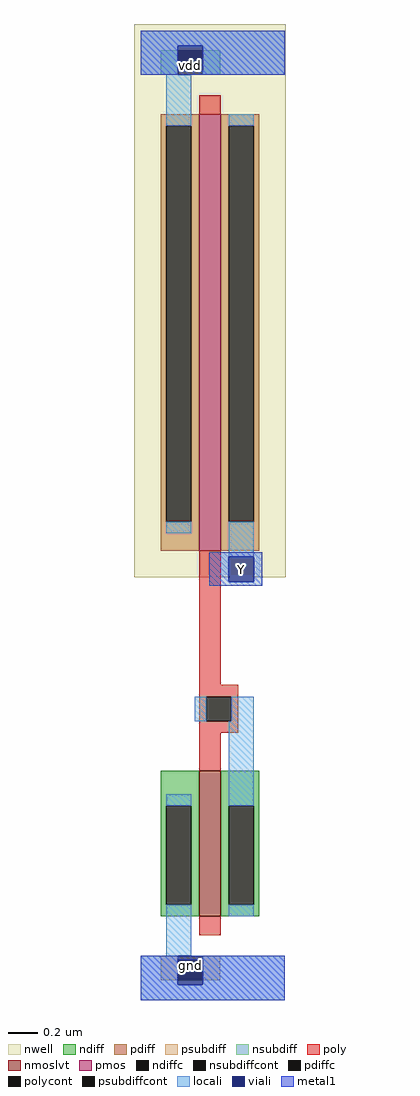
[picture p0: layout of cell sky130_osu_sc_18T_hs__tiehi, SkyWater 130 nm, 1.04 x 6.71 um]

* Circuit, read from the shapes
.subckt sky130_osu_sc_18T_hs__tiehi Y
XM1 n1 n1 gnd gnd sky130_fd_pr__nfet_01v8_lvt w=1 l=0.15
XM2 Y n1 vdd vdd sky130_fd_pr__pfet_01v8 w=3 l=0.15
.ends

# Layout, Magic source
magic
tech sky130A
magscale 1 2
<< nwell >>
rect -9 581 199 1341
<< pmos >>
rect 80 617 110 1217
<< nmoslvt >>
rect 80 115 110 315
<< ndiff >>
rect 27 267 80 315
rect 27 131 35 267
rect 69 131 80 267
rect 27 115 80 131
rect 110 267 163 315
rect 110 131 121 267
rect 155 131 163 267
rect 110 115 163 131
<< pdiff >>
rect 27 1201 80 1217
rect 27 657 35 1201
rect 69 657 80 1201
rect 27 617 80 657
rect 110 1201 163 1217
rect 110 657 121 1201
rect 155 657 163 1201
rect 110 617 163 657
<< ndiffc >>
rect 35 131 69 267
rect 121 131 155 267
<< pdiffc >>
rect 35 657 69 1201
rect 121 657 155 1201
<< psubdiff >>
rect 27 27 51 61
rect 85 27 109 61
<< nsubdiff >>
rect 27 1271 51 1305
rect 85 1271 109 1305
<< psubdiffcont >>
rect 51 27 85 61
<< nsubdiffcont >>
rect 51 1271 85 1305
<< poly >>
rect 80 1217 110 1243
rect 80 433 110 617
rect 80 417 134 433
rect 80 383 90 417
rect 124 383 134 417
rect 80 367 134 383
rect 80 315 110 367
rect 80 89 110 115
<< polycont >>
rect 90 383 124 417
<< locali >>
rect 0 1311 198 1332
rect 0 1271 51 1311
rect 85 1271 198 1311
rect 35 1201 69 1271
rect 35 641 69 657
rect 121 1201 155 1217
rect 121 609 155 657
rect 74 383 90 417
rect 124 383 155 417
rect 35 267 69 283
rect 35 61 69 131
rect 121 267 155 383
rect 121 115 155 131
rect 0 21 51 61
rect 85 21 198 61
rect 0 0 198 21
<< viali >>
rect 51 1305 85 1311
rect 51 1277 85 1305
rect 121 575 155 609
rect 51 27 85 55
rect 51 21 85 27
<< metal1 >>
rect 0 1311 198 1332
rect 0 1277 51 1311
rect 85 1277 198 1311
rect 0 1271 198 1277
rect 94 609 167 615
rect 94 575 121 609
rect 155 575 167 609
rect 94 569 167 575
rect 0 55 198 61
rect 0 21 51 55
rect 85 21 198 55
rect 0 0 198 21
<< labels >>
rlabel metal1 138 592 138 592 1 Y
port 1 n
rlabel viali 68 48 68 48 1 gnd
rlabel viali 68 1284 68 1284 1 vdd
<< end >>
